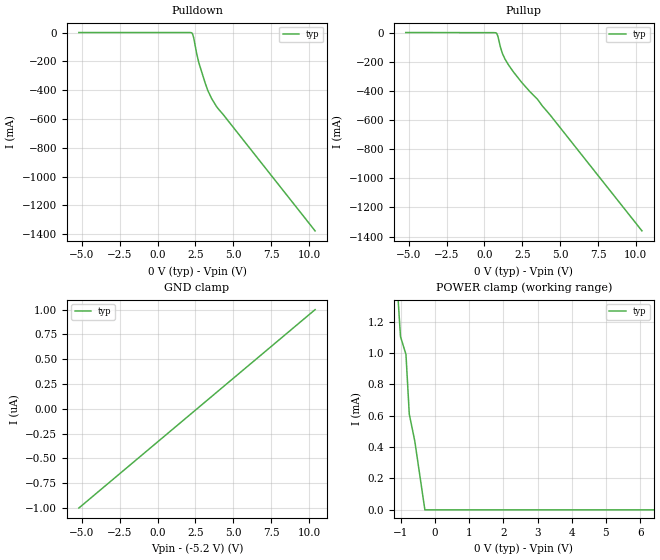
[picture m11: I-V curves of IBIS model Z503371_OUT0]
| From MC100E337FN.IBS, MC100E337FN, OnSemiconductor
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| (C) COPYRIGHT 1993-2000
| MENTOR GRAPHICS CORPORATION
| ICX STANDARD LIBRARY, ICX PROJECT MODELING,
| ICX CUSTOM MODELING, ICX VENDOR MODEL
| ALL RIGHTS RESERVED.
| THE FOLLOWING ARE TRADEMARKS OR SERVICE MARKS OF
| MENTOR GRAPHICS CORPORATION:ICX (R), ICX STANDARD
| LIBRARY(R), ICX PROJECT MODELING(R), ICX CUSTOM
| MODELING(R), qualityIBIS(TM), MODELVIEWER(TM),
| AND MODELEDITOR(TM)
| ALL COPIES OF SOFTWARE, INCLUDING BUT NOT LIMITED TO
| ANY MODIFICATIONS, ENHANCEMENTS OR DERIVATIVE WORKS,
| MUST CONTAIN ALL MENTOR GRAPHICS CORPORATION'S
| NOTICES AND LEGENDS, INCLUDING THOSE EMBEDDED IN
| SOFTWARE AND THOSE AFFIXED TO SOFTWARE MEDIUM
| AND CONTAINER, AS RECEIVED FROM MENTOR GRAPHICS
| CORPORATION.
| Model Application Version 1.89 2/18/99.
[Model] Z503371_OUT0
Model_type Output_ECL
Vref=-2.000V
Rref=50.00ohms
Cref=0.000F
Vmeas=-1.320V
C_comp 8.000pF NA NA
| variable typ   min   max
[Voltage Range] -5.200V NA NA
[POWER Clamp Reference] 0.000V NA NA
[Pullup Reference] 0.000V NA NA
[Pulldown Reference] 0.000V NA NA
[GND Clamp Reference] -5.200V NA NA
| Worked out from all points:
|   POWER clamp passes 1 mA (typ) near -0.86 V on its own axis
[GND Clamp]
-5.2V     -1uA       NA         NA
10.4V     1uA        NA         NA
[Pulldown]
-5.2V     98.66uA    NA         NA
2.259V    -2.95mA    NA         NA
2.31V     -10.14mA   NA         NA
2.383V    -36.2mA    NA         NA
2.579V    -146.3mA   NA         NA
2.729V    -212.2mA   NA         NA
3.154V    -354.3mA   NA         NA
3.32V     -403.3mA   NA         NA
3.576V    -459.7mA   NA         NA
3.863V    -509mA     NA         NA
10.4V     -1.376A    NA         NA
[Pullup]
-5.2V     1.092mA    NA         NA
644.5mV   -57.69uA   NA         NA
800.8mV   -4.474mA   NA         NA
879mV     -22.34mA   NA         NA
1.056V    -100.5mA   NA         NA
1.187V    -143.9mA   NA         NA
1.348V    -180.2mA   NA         NA
1.891V    -266.7mA   NA         NA
2.45V     -340.6mA   NA         NA
3.501V    -457.5mA   NA         NA
10.4V     -1.361A    NA         NA
[POWER Clamp]
-5.2V     5.362mA    NA         NA
-1.406V   2.108mA    NA         NA
-1.284V   1.67mA     NA         NA
-1.143V   1.566mA    NA         NA
-1.009V   1.105mA    NA         NA
-848.5mV  991.1uA    NA         NA
-751.3mV  609.8uA    NA         NA
-590.8mV  439.1uA    NA         NA
-295.4mV  0A         NA         NA
10.4V     0A         NA         NA
[Ramp]
| variable typ min max
dV/dt_r 731.1m/397.6p NA NA
dV/dt_f 731.1m/1.027n NA NA
R_load = 500.0Ohms
